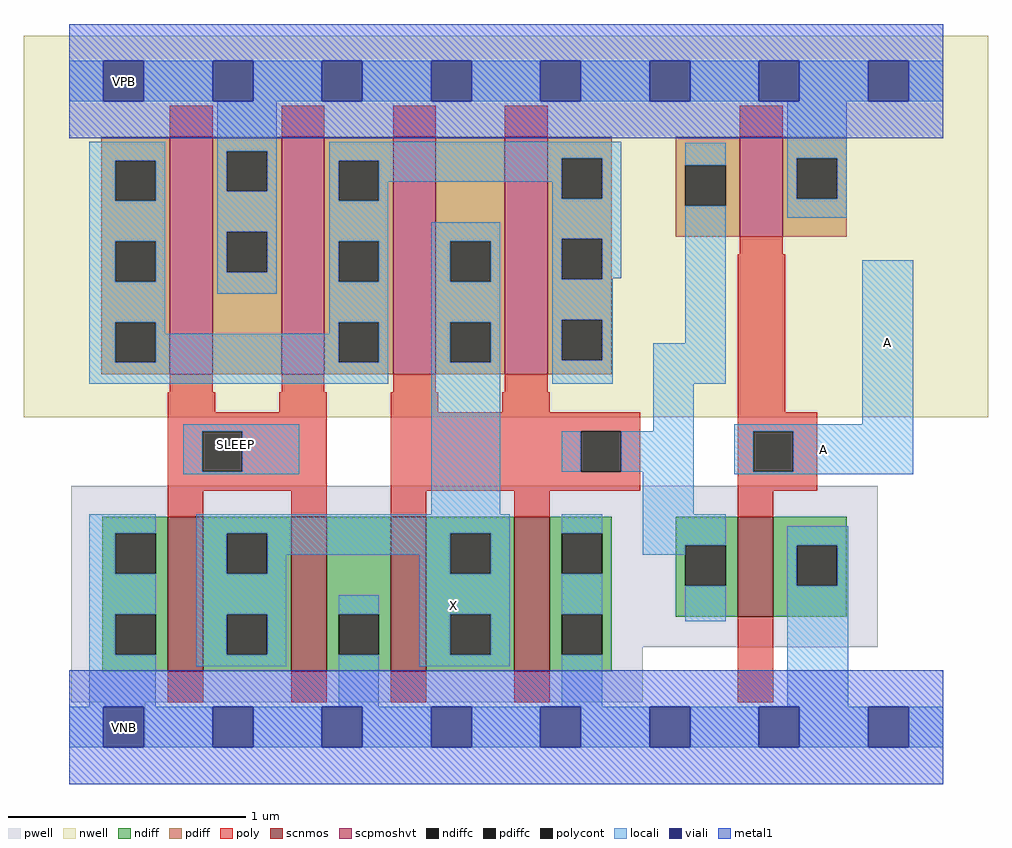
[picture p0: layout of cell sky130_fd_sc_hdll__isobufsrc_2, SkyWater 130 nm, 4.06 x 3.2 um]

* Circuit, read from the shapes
.subckt sky130_fd_sc_hdll__isobufsrc_2 A SLEEP VGND VNB VPB VPWR X
XM1 X SLEEP VGND VNB sky130_fd_pr__nfet_01v8 w=0.65 l=0.15 m=2
XM2 X n1 VGND VNB sky130_fd_pr__nfet_01v8 w=0.65 l=0.15 m=2
XM3 VGND A n1 VNB sky130_fd_pr__nfet_01v8 w=0.42 l=0.15
XM4 VPWR SLEEP n2 VPB sky130_fd_pr__pfet_01v8_hvt w=1 l=0.18 m=2
XM5 X n1 n2 VPB sky130_fd_pr__pfet_01v8_hvt w=1 l=0.18 m=2
XM6 VPWR A n1 VPB sky130_fd_pr__pfet_01v8_hvt w=0.42 l=0.18
.ends

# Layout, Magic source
magic
tech sky130A
magscale 1 2
<< nwell >>
rect -38 261 774 582
<< pwell >>
rect 2 67 681 203
rect 2 21 483 67
rect 30 -17 64 21
<< scnmos >>
rect 83 47 113 177
rect 187 47 217 177
rect 271 47 301 177
rect 375 47 405 177
rect 563 93 593 177
<< scpmoshvt >>
rect 85 297 121 497
rect 179 297 215 497
rect 273 297 309 497
rect 367 297 403 497
rect 565 413 601 497
<< ndiff >>
rect 28 163 83 177
rect 28 129 39 163
rect 73 129 83 163
rect 28 95 83 129
rect 28 61 39 95
rect 73 61 83 95
rect 28 47 83 61
rect 113 163 187 177
rect 113 129 133 163
rect 167 129 187 163
rect 113 95 187 129
rect 113 61 133 95
rect 167 61 187 95
rect 113 47 187 61
rect 217 95 271 177
rect 217 61 227 95
rect 261 61 271 95
rect 217 47 271 61
rect 301 163 375 177
rect 301 129 321 163
rect 355 129 375 163
rect 301 95 375 129
rect 301 61 321 95
rect 355 61 375 95
rect 301 47 375 61
rect 405 163 457 177
rect 405 129 415 163
rect 449 129 457 163
rect 405 95 457 129
rect 405 61 415 95
rect 449 61 457 95
rect 511 153 563 177
rect 511 119 519 153
rect 553 119 563 153
rect 511 93 563 119
rect 593 153 655 177
rect 593 119 613 153
rect 647 119 655 153
rect 593 93 655 119
rect 405 47 457 61
<< pdiff >>
rect 27 477 85 497
rect 27 443 39 477
rect 73 443 85 477
rect 27 409 85 443
rect 27 375 39 409
rect 73 375 85 409
rect 27 341 85 375
rect 27 307 39 341
rect 73 307 85 341
rect 27 297 85 307
rect 121 485 179 497
rect 121 451 133 485
rect 167 451 179 485
rect 121 417 179 451
rect 121 383 133 417
rect 167 383 179 417
rect 121 297 179 383
rect 215 477 273 497
rect 215 443 227 477
rect 261 443 273 477
rect 215 409 273 443
rect 215 375 227 409
rect 261 375 273 409
rect 215 341 273 375
rect 215 307 227 341
rect 261 307 273 341
rect 215 297 273 307
rect 309 409 367 497
rect 309 375 321 409
rect 355 375 367 409
rect 309 341 367 375
rect 309 307 321 341
rect 355 307 367 341
rect 309 297 367 307
rect 403 479 457 497
rect 403 445 415 479
rect 449 445 457 479
rect 403 411 457 445
rect 511 473 565 497
rect 511 439 519 473
rect 553 439 565 473
rect 511 413 565 439
rect 601 479 655 497
rect 601 445 613 479
rect 647 445 655 479
rect 601 413 655 445
rect 403 377 415 411
rect 449 377 457 411
rect 403 343 457 377
rect 403 309 415 343
rect 449 309 457 343
rect 403 297 457 309
<< ndiffc >>
rect 39 129 73 163
rect 39 61 73 95
rect 133 129 167 163
rect 133 61 167 95
rect 227 61 261 95
rect 321 129 355 163
rect 321 61 355 95
rect 415 129 449 163
rect 415 61 449 95
rect 519 119 553 153
rect 613 119 647 153
<< pdiffc >>
rect 39 443 73 477
rect 39 375 73 409
rect 39 307 73 341
rect 133 451 167 485
rect 133 383 167 417
rect 227 443 261 477
rect 227 375 261 409
rect 227 307 261 341
rect 321 375 355 409
rect 321 307 355 341
rect 415 445 449 479
rect 519 439 553 473
rect 613 445 647 479
rect 415 377 449 411
rect 415 309 449 343
<< poly >>
rect 85 497 121 523
rect 179 497 215 523
rect 273 497 309 523
rect 367 497 403 523
rect 565 497 601 523
rect 565 398 601 413
rect 85 282 121 297
rect 179 282 215 297
rect 273 282 309 297
rect 367 282 403 297
rect 83 265 123 282
rect 177 265 217 282
rect 83 249 217 265
rect 83 215 112 249
rect 146 215 217 249
rect 83 199 217 215
rect 83 177 113 199
rect 187 177 217 199
rect 271 265 311 282
rect 365 265 405 282
rect 563 265 603 398
rect 271 249 481 265
rect 271 215 431 249
rect 465 215 481 249
rect 271 199 481 215
rect 563 249 630 265
rect 563 215 576 249
rect 610 215 630 249
rect 563 199 630 215
rect 271 177 301 199
rect 375 177 405 199
rect 563 177 593 199
rect 83 21 113 47
rect 187 21 217 47
rect 271 21 301 47
rect 375 21 405 47
rect 563 21 593 93
<< polycont >>
rect 112 215 146 249
rect 431 215 465 249
rect 576 215 610 249
<< locali >>
rect 0 527 29 561
rect 63 527 121 561
rect 155 527 213 561
rect 247 527 305 561
rect 339 527 397 561
rect 431 527 489 561
rect 523 527 581 561
rect 615 527 673 561
rect 707 527 736 561
rect 17 477 81 493
rect 17 443 39 477
rect 73 443 81 477
rect 17 409 81 443
rect 17 375 39 409
rect 73 375 81 409
rect 17 341 81 375
rect 125 485 175 527
rect 125 451 133 485
rect 167 451 175 485
rect 125 417 175 451
rect 125 383 133 417
rect 167 383 175 417
rect 125 365 175 383
rect 219 479 465 493
rect 219 477 415 479
rect 219 443 227 477
rect 261 459 415 477
rect 261 443 269 459
rect 219 409 269 443
rect 407 445 415 459
rect 449 445 465 479
rect 219 375 227 409
rect 261 375 269 409
rect 17 307 39 341
rect 73 331 81 341
rect 219 341 269 375
rect 219 331 227 341
rect 73 307 227 331
rect 261 307 269 341
rect 17 289 269 307
rect 305 409 363 425
rect 305 375 321 409
rect 355 375 363 409
rect 305 341 363 375
rect 305 307 321 341
rect 355 307 363 341
rect 96 249 194 255
rect 96 215 112 249
rect 146 215 194 249
rect 96 213 194 215
rect 305 179 363 307
rect 407 411 465 445
rect 407 377 415 411
rect 449 378 465 411
rect 519 473 553 492
rect 449 377 458 378
rect 407 343 458 377
rect 407 309 415 343
rect 449 309 458 343
rect 519 323 553 439
rect 605 479 655 527
rect 605 445 613 479
rect 647 445 655 479
rect 605 429 655 445
rect 407 289 458 309
rect 492 289 553 323
rect 492 249 526 289
rect 668 255 711 393
rect 415 215 431 249
rect 465 215 526 249
rect 483 179 526 215
rect 560 249 711 255
rect 560 215 576 249
rect 610 215 711 249
rect 560 213 711 215
rect 17 163 73 179
rect 17 129 39 163
rect 17 95 73 129
rect 17 61 39 95
rect 17 17 73 61
rect 107 163 371 179
rect 107 129 133 163
rect 167 145 321 163
rect 167 129 183 145
rect 107 95 183 129
rect 295 129 321 145
rect 355 129 371 163
rect 107 61 133 95
rect 167 61 183 95
rect 107 51 183 61
rect 227 95 261 111
rect 227 17 261 61
rect 295 95 371 129
rect 295 61 321 95
rect 355 61 371 95
rect 295 51 371 61
rect 415 163 449 179
rect 483 153 553 179
rect 483 145 519 153
rect 415 95 449 129
rect 519 89 553 119
rect 605 153 656 169
rect 605 119 613 153
rect 647 119 656 153
rect 415 17 449 61
rect 605 17 656 119
rect 0 -17 29 17
rect 63 -17 121 17
rect 155 -17 213 17
rect 247 -17 305 17
rect 339 -17 397 17
rect 431 -17 489 17
rect 523 -17 581 17
rect 615 -17 673 17
rect 707 -17 736 17
<< viali >>
rect 29 527 63 561
rect 121 527 155 561
rect 213 527 247 561
rect 305 527 339 561
rect 397 527 431 561
rect 489 527 523 561
rect 581 527 615 561
rect 673 527 707 561
rect 29 -17 63 17
rect 121 -17 155 17
rect 213 -17 247 17
rect 305 -17 339 17
rect 397 -17 431 17
rect 489 -17 523 17
rect 581 -17 615 17
rect 673 -17 707 17
<< metal1 >>
rect 0 561 736 592
rect 0 527 29 561
rect 63 527 121 561
rect 155 527 213 561
rect 247 527 305 561
rect 339 527 397 561
rect 431 527 489 561
rect 523 527 581 561
rect 615 527 673 561
rect 707 527 736 561
rect 0 496 736 527
rect 0 17 736 48
rect 0 -17 29 17
rect 63 -17 121 17
rect 155 -17 213 17
rect 247 -17 305 17
rect 339 -17 397 17
rect 431 -17 489 17
rect 523 -17 581 17
rect 615 -17 673 17
rect 707 -17 736 17
rect 0 -48 736 -17
<< labels >>
flabel locali s 668 255 711 393 0 FreeSans 400 0 0 0 A
port 1 nsew signal input
flabel locali s 123 221 157 255 0 FreeSans 200 0 0 0 SLEEP
port 2 nsew signal input
flabel locali s 307 85 341 119 0 FreeSans 400 0 0 0 X
port 7 nsew signal output
flabel nwell s 30 527 64 561 0 FreeSans 200 0 0 0 VPB
port 5 nsew power bidirectional
flabel pwell s 30 -17 64 17 0 FreeSans 200 0 0 0 VNB
port 4 nsew ground bidirectional
flabel metal1 s 30 -17 64 17 0 FreeSans 200 0 0 0 VGND
port 3 nsew ground bidirectional
flabel metal1 s 30 527 64 561 0 FreeSans 200 0 0 0 VPWR
port 6 nsew power bidirectional
rlabel comment s 0 0 0 0 4 sky130_fd_sc_hdll__lpflow_isobufsrc_2
rlabel locali s 560 213 711 255 1 A
port 1 nsew signal input
<< properties >>
string LEFsite unithd
string LEFclass CORE
string FIXED_BBOX 0 0 736 544
string GDS_FILE $PDKPATH/libs.ref/sky130_fd_sc_hdll/gds/sky130_fd_sc_hdll.gds
string LEFsymmetry X Y R90
string GDS_END 149130
string GDS_START 142848
string LEFproperties maskLayoutSubType "abstract" prCellType "standard" originalViewName "layout"
<< end >>
